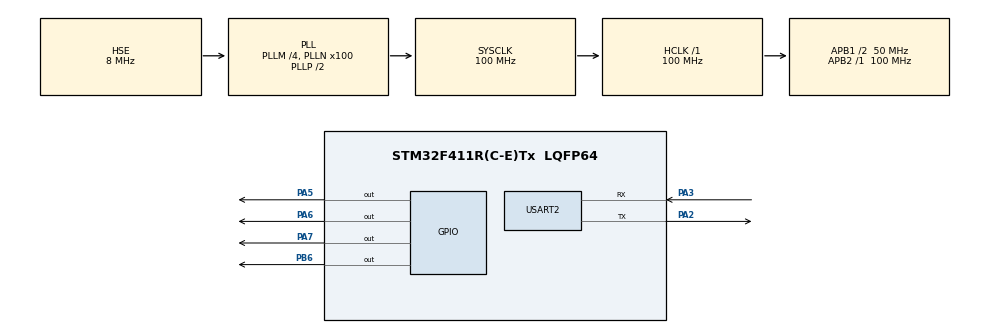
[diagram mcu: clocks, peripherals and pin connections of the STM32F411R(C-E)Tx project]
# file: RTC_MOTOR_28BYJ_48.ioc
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Mcu.Family=STM32F4
Mcu.Name=STM32F411R(C-E)Tx
Mcu.Package=LQFP64
NVIC.PriorityGroup=NVIC_PRIORITYGROUP_4
NVIC.USART2_IRQn=true\:0\:0\:false\:false\:true\:true\:true\:true
PA13.Mode=Serial_Wire
PA13.Signal=SYS_JTMS-SWDIO
PA14.Mode=Serial_Wire
PA14.Signal=SYS_JTCK-SWCLK
PA2.Mode=Asynchronous
PA2.Signal=USART2_TX
PA3.Mode=Asynchronous
PA3.Signal=USART2_RX
PA5.Signal=GPIO_Output
PA6.Signal=GPIO_Output
PA7.Signal=GPIO_Output
PB6.Signal=GPIO_Output
PH0\ -\ OSC_IN.Mode=HSE-External-Oscillator
PH0\ -\ OSC_IN.Signal=RCC_OSC_IN
PH1\ -\ OSC_OUT.Mode=HSE-External-Oscillator
PH1\ -\ OSC_OUT.Signal=RCC_OSC_OUT
ProjectManager.HeapSize=0x200
ProjectManager.StackSize=0x400
ProjectManager.TargetToolchain=STM32CubeIDE
RCC.48MHZClocksFreq_Value=50000000
RCC.AHBFreq_Value=100000000
RCC.APB1CLKDivider=RCC_HCLK_DIV2
RCC.APB1Freq_Value=50000000
RCC.APB1TimFreq_Value=100000000
RCC.APB2Freq_Value=100000000
RCC.APB2TimFreq_Value=100000000
RCC.CortexFreq_Value=100000000
RCC.HCLKFreq_Value=100000000
RCC.HSE_VALUE=8000000
RCC.HSI_VALUE=16000000
RCC.LSE_VALUE=32768
RCC.PLLM=4
RCC.PLLN=100
RCC.PLLSourceVirtual=RCC_PLLSOURCE_HSE
RCC.SYSCLKFreq_VALUE=100000000
RCC.SYSCLKSource=RCC_SYSCLKSOURCE_PLLCLK
RCC.VCOOutputFreq_Value=200000000
TIM10.Prescaler=100-1
USART2.VirtualMode=VM_ASYNC
VP_TIM10_VS_ClockSourceINT.Mode=Enable_Timer
board=custom

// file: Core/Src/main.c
/* USER CODE BEGIN Header */
/**
  ******************************************************************************
  * @file           : main.c
  * @brief          : Main program body
  ******************************************************************************
  * @attention
  *
  * Copyright (c) 2023 STMicroelectronics.
  * All rights reserved.
  *
  * This software is licensed under terms that can be found in the LICENSE file
  * in the root directory of this software component.
  * If no LICENSE file comes with this software, it is provided AS-IS.
  *
  ******************************************************************************
  */
/* USER CODE END Header */
#include "main.h"
#include "tim.h"
#include "usart.h"
#include "gpio.h"

/* USER CODE BEGIN Includes */
#include "stdio.h"
#include "string.h"
#include "stdlib.h"
#include "delay.h"
#include "STEPPER.h"
/* USER CODE END Includes */

/* USER CODE BEGIN PV */
uint8_t rxData;
uint8_t buffIndex = 0;
uint8_t buff[30];

motorInfo motor1=
    {
	{GPIOA, GPIOA, GPIOA, GPIOB},
	{GPIO_PIN_5, GPIO_PIN_6, GPIO_PIN_7, GPIO_PIN_6},
	2048,
	HALF_DRIVE,
	cw
    };
/* USER CODE END PV */

void SystemClock_Config(void);
/* USER CODE BEGIN PFP */

void HAL_UART_RxCpltCallback(UART_HandleTypeDef *huart)
{
  if(huart->Instance == USART2)
  {
    if(rxData == '\n')
    {
      buff[buffIndex]='\0';
//      int stepFlag=0;
//      float exData = (float)4096/(float)360;
//      if((p = strstr((char*)buff,"ccw"))!=NULL)
//      {
//	motor1.c_mode= ccw;
//	stepFlag += 3;
//	if((dp = strstr((char*)buff,"HD"))!=NULL){
//	  motor1.d_mode = HALF_DRIVE;
//	  stepFlag +=2;
//	}
//	else if((dp = strstr((char*)buff,"WD"))!=NULL){
//	  motor1.d_mode = WAVE_DRIVE;
//	  stepFlag +=2;
//	}
//	else if((dp = strstr((char*)buff,"FD"))!=NULL){
//	  motor1.d_mode = FULL_DRIVE;
//	  exData /=2;
//	  stepFlag +=2;
//	}
//      }
//      else if((p = strstr((char*)buff,"cw"))!=NULL)
//      {
//	motor1.c_mode= cw;
//	stepFlag += 2;
//	if((dp = strstr((char*)buff,"HD"))!=NULL){
//	  motor1.d_mode = HALF_DRIVE;
//	  stepFlag +=2;
//	}
//	else if((dp = strstr((char*)buff,"WD"))!=NULL){
//	  motor1.d_mode = WAVE_DRIVE;
//	  stepFlag +=2;
//	}
//	else if((dp = strstr((char*)buff,"FD"))!=NULL){
//	  motor1.d_mode = FULL_DRIVE;
//	  exData /=2;
//	  stepFlag +=2;
//	}
//      }
//      stepData = p + stepFlag;
//      motor1.motorStep = atoi(stepData)*exData;
      buffIndex = 0;
    }
    else
    {
      if(buffIndex < 30)
      {
	buff[buffIndex++] = rxData;
      }
    }
    HAL_UART_Receive_IT(&huart2, &rxData, sizeof(rxData));
  }
}
/* USER CODE END PFP */

int main(void)
{

  /* MCU Configuration--------------------------------------------------------*/

  /* Reset of all peripherals, Initializes the Flash interface and the Systick. */
  HAL_Init();

  /* Configure the system clock */
  SystemClock_Config();

  /* Initialize all configured peripherals */
  MX_GPIO_Init();
  MX_USART2_UART_Init();
  MX_TIM10_Init();
  /* USER CODE BEGIN 2 */
  HAL_UART_Receive_IT(&huart2, &rxData, sizeof(rxData));
  HAL_TIM_Base_Start(&htim10);
  /* USER CODE END 2 */

  /* Infinite loop */
  while (1)
  {

    /* USER CODE BEGIN 3 */
    stepInit(motor1);
    if(buff[0] != '/0'){
      stepCtlr(buff, &motor1);
    }
  }
  /* USER CODE END 3 */
}

void SystemClock_Config(void)
{
  RCC_OscInitTypeDef RCC_OscInitStruct = {0};
  RCC_ClkInitTypeDef RCC_ClkInitStruct = {0};

  /** Configure the main internal regulator output voltage
  */
  __HAL_RCC_PWR_CLK_ENABLE();
  __HAL_PWR_VOLTAGESCALING_CONFIG(PWR_REGULATOR_VOLTAGE_SCALE1);

  /** Initializes the RCC Oscillators according to the specified parameters
  * in the RCC_OscInitTypeDef structure.
  */
  RCC_OscInitStruct.OscillatorType = RCC_OSCILLATORTYPE_HSE;
  RCC_OscInitStruct.HSEState = RCC_HSE_ON;
  RCC_OscInitStruct.PLL.PLLState = RCC_PLL_ON;
  RCC_OscInitStruct.PLL.PLLSource = RCC_PLLSOURCE_HSE;
  RCC_OscInitStruct.PLL.PLLM = 4;
  RCC_OscInitStruct.PLL.PLLN = 100;
  RCC_OscInitStruct.PLL.PLLP = RCC_PLLP_DIV2;
  RCC_OscInitStruct.PLL.PLLQ = 4;
  if (HAL_RCC_OscConfig(&RCC_OscInitStruct) != HAL_OK)
  {
    Error_Handler();
  }

  /** Initializes the CPU, AHB and APB buses clocks
  */
  RCC_ClkInitStruct.ClockType = RCC_CLOCKTYPE_HCLK|RCC_CLOCKTYPE_SYSCLK
                              |RCC_CLOCKTYPE_PCLK1|RCC_CLOCKTYPE_PCLK2;
  RCC_ClkInitStruct.SYSCLKSource = RCC_SYSCLKSOURCE_PLLCLK;
  RCC_ClkInitStruct.AHBCLKDivider = RCC_SYSCLK_DIV1;
  RCC_ClkInitStruct.APB1CLKDivider = RCC_HCLK_DIV2;
  RCC_ClkInitStruct.APB2CLKDivider = RCC_HCLK_DIV1;

  if (HAL_RCC_ClockConfig(&RCC_ClkInitStruct, FLASH_LATENCY_3) != HAL_OK)
  {
    Error_Handler();
  }
}

void Error_Handler(void)
{
  __disable_irq();
  while (1)
  {
  }
}
